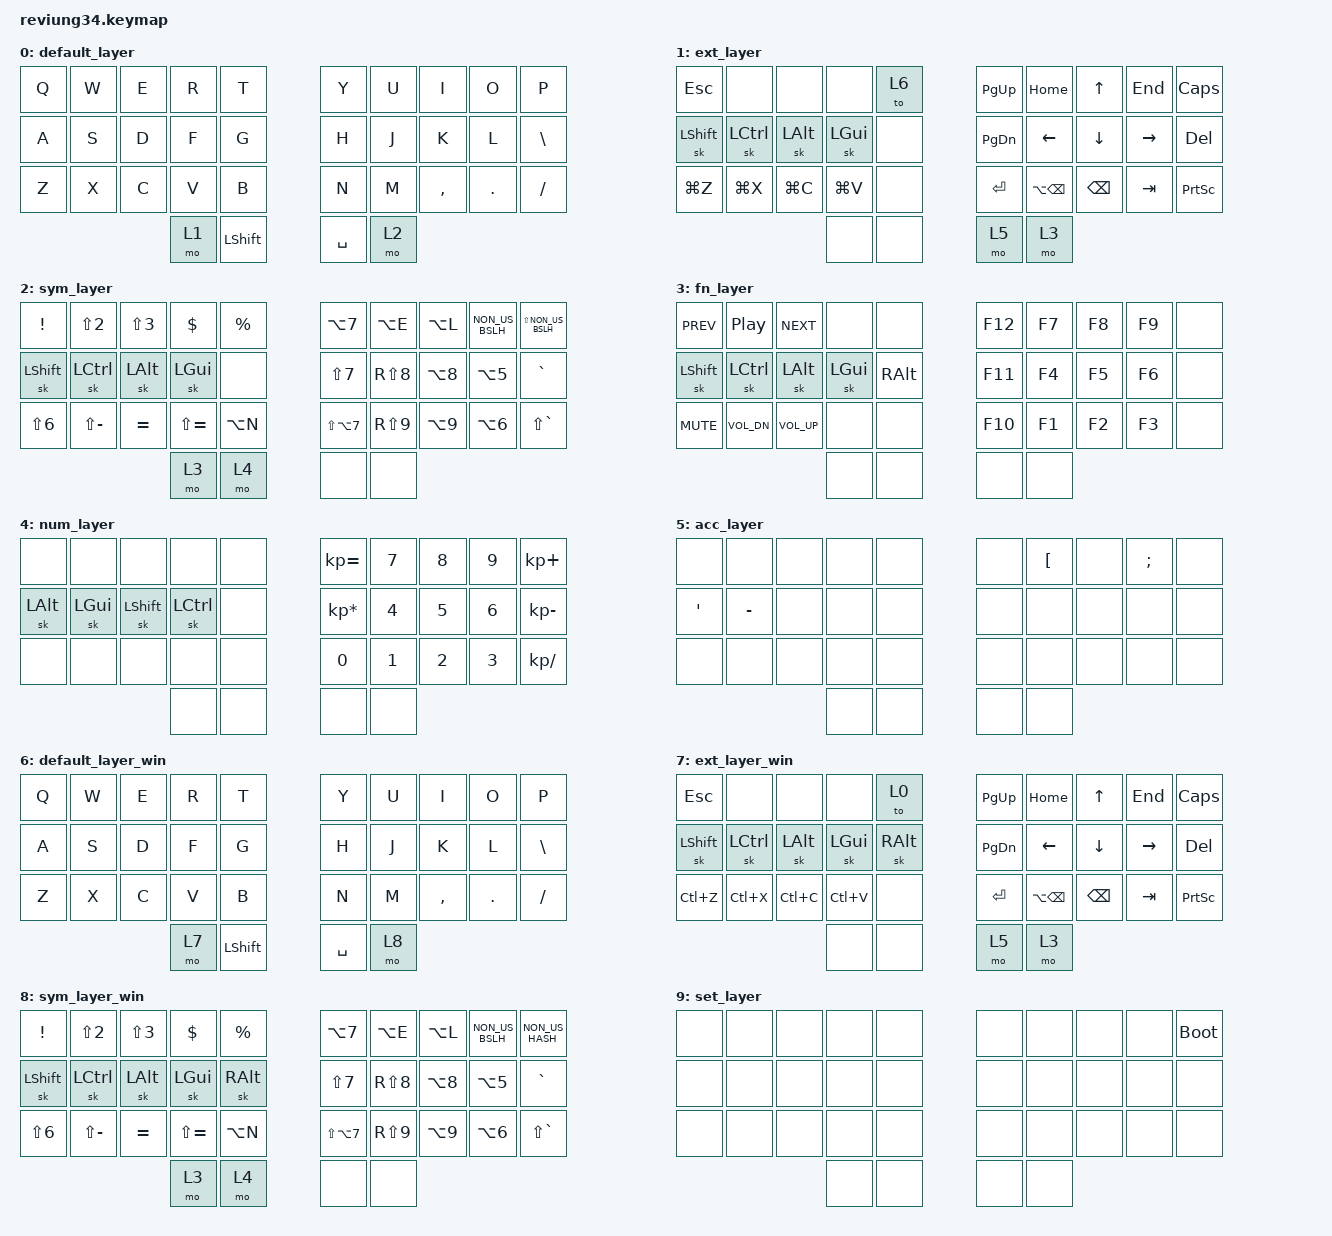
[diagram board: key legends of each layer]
/*
 * Copyright (c) 2023 The ZMK Contributors
 *
 * SPDX-License-Identifier: MIT
 */

#include <behaviors.dtsi>
#include <dt-bindings/zmk/keys.h>
#include <dt-bindings/zmk/rgb.h>

/ {
    chosen {
        // 34 keys.

        zmk,matrix-transform = &dual_1u_transform;

        // 33 keys. Center two thumb keys replaced by a single 2u key. Remember to adjust your
        // keymap accordingly!
        // zmk,matrix-transform = &single_2u_transform;
    };
};

/ {
    combos {
        compatible = "zmk,combos";

        set_combo {
            bindings = <&mo 9>;
            key-positions = <30 31>;
        };
    };

    keymap {
        compatible = "zmk,keymap";

        default_layer {
            bindings = <
&kp Q  &kp W  &kp E  &kp R  &kp T         &kp Y      &kp U  &kp I      &kp O    &kp P
&kp A  &kp S  &kp D  &kp F  &kp G         &kp H      &kp J  &kp K      &kp L    &kp BACKSLASH
&kp Z  &kp X  &kp C  &kp V  &kp B         &kp N      &kp M  &kp COMMA  &kp DOT  &kp FSLH
                     &mo 1  &kp LSHIFT    &kp SPACE  &mo 2
            >;
        };

        ext_layer {
            bindings = <
&kp ESC         &none             &none         &none         &to 6    &kp PG_UP  &kp HOME           &kp UP         &kp END    &kp CAPSLOCK
&sk LEFT_SHIFT  &sk LEFT_CONTROL  &sk LEFT_ALT  &sk LEFT_GUI  &none    &kp PG_DN  &kp LEFT           &kp DOWN       &kp RIGHT  &kp DEL
&kp LG(Z)       &kp LG(X)         &kp LG(C)     &kp LG(V)     &none    &kp ENTER  &kp LA(BACKSPACE)  &kp BACKSPACE  &kp TAB    &kp PSCRN
                                                &none         &none    &mo 5      &mo 3
            >;
        };

        sym_layer {
            bindings = <
&kp EXCL          &kp LS(NUMBER_2)  &kp LS(NUMBER_3)  &kp DLLR       &kp PRCNT    &kp LA(N7)      &kp LA(E)   &kp LA(L)   &kp NON_US_BSLH   &kp LS(NON_US_BSLH)
&sk LEFT_SHIFT    &sk LEFT_CONTROL  &sk LEFT_ALT      &sk LEFT_GUI   &none        &kp LS(N7)      &kp RS(N8)  &kp LA(N8)  &kp LA(N5)        &kp GRAVE
&kp LS(NUMBER_6)  &kp LS(MINUS)     &kp EQUAL         &kp LS(EQUAL)  &kp LA(N)    &kp LS(LA(N7))  &kp RS(N9)  &kp LA(N9)  &kp LA(NUMBER_6)  &kp LS(GRAVE)
                                                      &mo 3          &mo 4        &none           &none
            >;
        };

        fn_layer {
            bindings = <
&kp C_PREV      &kp C_PP          &kp C_NEXT       &none         &none            &kp F12  &kp F7  &kp F8  &kp F9  &none
&sk LEFT_SHIFT  &sk LEFT_CONTROL  &sk LEFT_ALT     &sk LEFT_GUI  &kp RIGHT_ALT    &kp F11  &kp F4  &kp F5  &kp F6  &none
&kp C_MUTE      &kp C_VOL_DN      &kp C_VOLUME_UP  &none         &none            &kp F10  &kp F1  &kp F2  &kp F3  &none
                                                   &none         &none            &none    &none
            >;
        };

        num_layer {
            bindings = <
&none     &none     &none       &none      &none    &kp KP_EQUAL     &kp N7  &kp N8  &kp N9  &kp KP_PLUS
&sk LALT  &sk LGUI  &sk LSHIFT  &sk LCTRL  &none    &kp KP_MULTIPLY  &kp N4  &kp N5  &kp N6  &kp KP_MINUS
&none     &none     &none       &none      &none    &kp N0           &kp N1  &kp N2  &kp N3  &kp KP_DIVIDE
                                &none      &none    &none            &none
            >;
        };

        acc_layer {
            bindings = <
&none             &none      &none  &none  &none    &none  &kp LBKT  &none  &kp SEMI  &none
&kp SINGLE_QUOTE  &kp MINUS  &none  &none  &none    &none  &none     &none  &none     &none
&none             &none      &none  &none  &none    &none  &none     &none  &none     &none
                                    &none  &none    &none  &none
            >;
        };

        default_layer_win {
            bindings = <
&kp Q  &kp W  &kp E  &kp R  &kp T         &kp Y      &kp U  &kp I      &kp O    &kp P
&kp A  &kp S  &kp D  &kp F  &kp G         &kp H      &kp J  &kp K      &kp L    &kp BACKSLASH
&kp Z  &kp X  &kp C  &kp V  &kp B         &kp N      &kp M  &kp COMMA  &kp DOT  &kp FSLH
                     &mo 7  &kp LSHIFT    &kp SPACE  &mo 8
            >;
        };

        ext_layer_win {
            bindings = <
&kp ESC         &none             &none         &none         &to 0       &kp PG_UP  &kp HOME           &kp UP         &kp END    &kp CAPSLOCK
&sk LEFT_SHIFT  &sk LEFT_CONTROL  &sk LEFT_ALT  &sk LEFT_GUI  &sk RALT    &kp PG_DN  &kp LEFT           &kp DOWN       &kp RIGHT  &kp DEL
&kp LC(Z)       &kp LC(X)         &kp LC(C)     &kp LC(V)     &none       &kp ENTER  &kp LA(BACKSPACE)  &kp BACKSPACE  &kp TAB    &kp PSCRN
                                                &none         &none       &mo 5      &mo 3
            >;
        };

        sym_layer_win {
            bindings = <
&kp EXCL          &kp LS(NUMBER_2)  &kp LS(NUMBER_3)  &kp DLLR       &kp PRCNT    &kp LA(N7)      &kp LA(E)   &kp LA(L)   &kp NON_US_BSLH   &kp NON_US_HASH
&sk LEFT_SHIFT    &sk LEFT_CONTROL  &sk LEFT_ALT      &sk LEFT_GUI   &sk RALT     &kp LS(N7)      &kp RS(N8)  &kp LA(N8)  &kp LA(N5)        &kp GRAVE
&kp LS(NUMBER_6)  &kp LS(MINUS)     &kp EQUAL         &kp LS(EQUAL)  &kp LA(N)    &kp LS(LA(N7))  &kp RS(N9)  &kp LA(N9)  &kp LA(NUMBER_6)  &kp LS(GRAVE)
                                                      &mo 3          &mo 4        &none           &none
            >;
        };

        set_layer {
            bindings = <
&none  &none  &none  &none  &none    &none  &none  &none  &none  &bootloader
&none  &none  &none  &none  &none    &none  &none  &none  &none  &none
&none  &none  &none  &none  &none    &none  &none  &none  &none  &none
                     &none  &none    &none  &none
            >;
        };
    };
};
